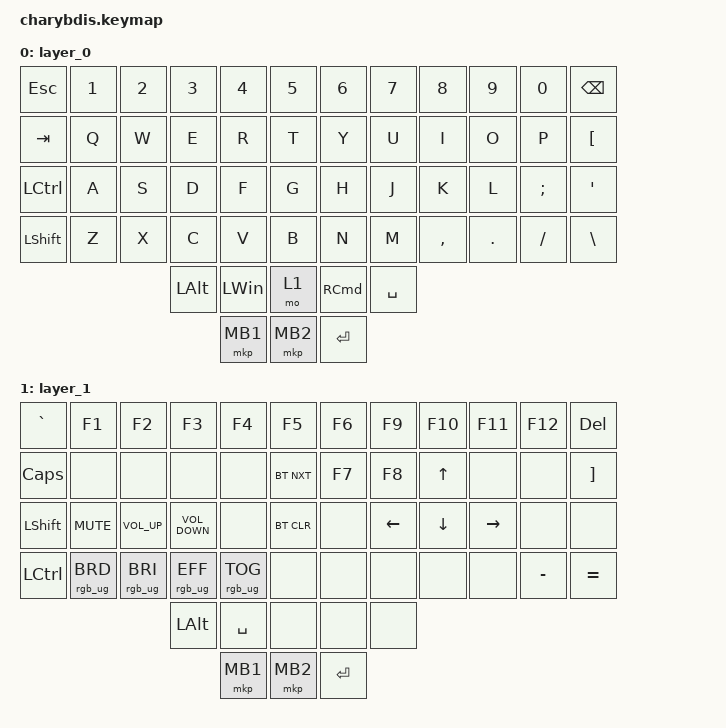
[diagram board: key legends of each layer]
#include <behaviors.dtsi>
#include <dt-bindings/zmk/bt.h>
#include <dt-bindings/zmk/keys.h>
#include <dt-bindings/zmk/mouse.h>
#include <dt-bindings/zmk/rgb.h>

&lt {
    tapping-term-ms = <200>;
    flavor = "balanced";
    quick-tap-ms = <150>;
};

/ {
    keymap {
        compatible = "zmk,keymap";

        layer_0 {
            bindings = <
&kp ESC         &kp N1  &kp N2  &kp N3        &kp N4    &kp N5      &kp N6             &kp N7     &kp N8     &kp N9      &kp N0    &kp BACKSPACE
&kp TAB         &kp Q   &kp W   &kp E         &kp R     &kp T       &kp Y              &kp U      &kp I      &kp O       &kp P     &kp LEFT_BRACKET
&kp LCTRL       &kp A   &kp S   &kp D         &kp F     &kp G       &kp H              &kp J      &kp K      &kp L       &kp SEMI  &kp SQT
&kp LEFT_SHIFT  &kp Z   &kp X   &kp C         &kp V     &kp B       &kp N              &kp M      &kp COMMA  &kp PERIOD  &kp FSLH  &kp BACKSLASH
                                &kp LEFT_ALT  &kp LWIN  &mo 1       &kp RIGHT_COMMAND  &kp SPACE
                                              &mkp MB1  &mkp MB2    &kp ENTER
            >;

            trackball-bindings = <&tmv_coarse>;
        };

        layer_1 {
            bindings = <
&kp GRAVE       &kp F1           &kp F2           &kp F3             &kp F4           &kp F5        &kp F6     &kp F9    &kp F10   &kp F11    &kp F12    &kp DELETE
&kp CAPS        &none            &none            &none              &none            &bt BT_NXT    &kp F7     &kp F8    &kp UP    &none      &none      &kp RIGHT_BRACKET
&kp LEFT_SHIFT  &kp K_MUTE       &kp C_VOL_UP     &kp C_VOLUME_DOWN  &none            &bt BT_CLR    &none      &kp LEFT  &kp DOWN  &kp RIGHT  &none      &none
&kp LCTRL       &rgb_ug RGB_BRD  &rgb_ug RGB_BRI  &rgb_ug RGB_EFF    &rgb_ug RGB_TOG  &none         &none      &none     &none     &none      &kp MINUS  &kp EQUAL
                                                  &kp LEFT_ALT       &kp SPACE        &none         &none      &none
                                                                     &mkp MB1         &mkp MB2      &kp ENTER
            >;

            trackball-bindings = <&tsl>;
        };

        /* layer_2 {
            bindings = <
&none  &none   &none    &none   &none         &none         &kp N1         &none         &none     &none  &none   &to 0
&none  &none   &none    &none   &none         &none         &none         &none          &rgb_ug RGB_BRD &rgb_ug RGB_BRI  &rgb_ug RGB_EFF   &rgb_ug RGB_TOG
&none  &none   &none    &none   &none         &none         &none         &mkp LCLK     &mkp RCLK  &none  &none   &none
&none  &none   &none    &none   &bt BT_NXT  &bt BT_CLR    &none         &none         &none     &none  &none   &none
                                   &none         &none         &none         &none         &none
                                                 &none         &none         &none
            >;
          trackball-bindings = <&tsl>;
            
        };

       Mouse {
            bindings = <
&none        &none         &none         &none         &none      &none         &none       &none      &none         &none         &none         &none
&none        &bt BT_SEL 0  &bt BT_SEL 1  &bt BT_SEL 3  &none      &bt BT_CLR    &bt BT_CLR  &none      &bt BT_SEL 2  &bt BT_SEL 1  &bt BT_SEL 0  &none
&none        &trans        &trans        &mkp MCLK     &trans     &none         &none       &trans     &mkp MCLK     &trans        &trans        &none
&bootloader  &trans        &mkp RCLK     &mo 4         &mkp LCLK  &mo 5         &mo 5       &mkp LCLK  &mo 4         &mkp RCLK     &trans        &bootloader
                                         &mo 5         &mkp LCLK  &mkp RCLK     &mkp RCLK   &mkp LCLK
                                                       &none      &trans        &trans
            >;

            
        };

        layer_4 {
            bindings = <
&trans  &trans  &trans     &trans     &trans     &trans       &trans     &trans     &trans     &trans     &trans  &trans
&trans  &trans  &trans     &trans     &trans     &trans       &trans     &trans     &trans     &trans     &trans  &trans
&trans  &trans  &trans     &mkp MCLK  &trans     &trans       &trans     &trans     &mkp MCLK  &trans     &trans  &trans
&trans  &trans  &mkp RCLK  &trans     &mkp LCLK  &trans       &trans     &mkp LCLK  &trans     &mkp RCLK  &trans  &trans
                           &trans     &mkp LCLK  &mkp RCLK    &mkp RCLK  &mkp LCLK
                                      &trans     &trans       &trans
            >;
                
                
                trackball-bindings = <&tsl>;
        };

        layer_5 {
            bindings = <
&trans  &trans  &trans     &trans     &trans     &trans       &trans     &trans     &trans     &trans     &trans  &trans
&trans  &trans  &trans     &trans     &trans     &trans       &trans     &trans     &trans     &trans     &trans  &trans
&trans  &trans  &trans     &mkp MCLK  &trans     &trans       &trans     &trans     &mkp MCLK  &trans     &trans  &trans
&trans  &trans  &mkp RCLK  &trans     &mkp LCLK  &trans       &trans     &mkp LCLK  &trans     &mkp RCLK  &trans  &trans
                           &trans     &mkp LCLK  &mkp RCLK    &mkp RCLK  &mkp LCLK
                                      &trans     &trans       &trans
            >;
                trackball-bindings = <&tmv_fine>;
                
        };*/
    };
};
